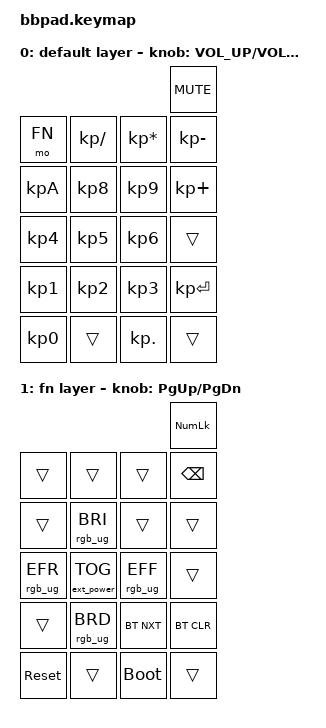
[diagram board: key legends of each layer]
/*
 * Copyright (c) 2023 The ZMK Contributors
 *
 * SPDX-License-Identifier: MIT
 */

#include <behaviors.dtsi>
#include <dt-bindings/zmk/keys.h>
#include <dt-bindings/zmk/bt.h>
#include <dt-bindings/zmk/rgb.h>
#include <dt-bindings/zmk/ext_power.h>
#include <dt-bindings/zmk/outputs.h>

#define DEFAULT  0
#define FN       1

#define TIMEOUT 300

&encoder_1 {
    status = "okay";
};

/ {
    sensors {
        compatible = "zmk,keymap-sensors";
        sensors = <&encoder_1>;
    };

    keymap0: keymap {
        compatible = "zmk,keymap";

        default_layer {
            label = "default layer";
            bindings = <
                                                               &kp C_MUTE
                &mo FN       &kp KP_DIVIDE   &kp KP_MULTIPLY   &kp KP_MINUS
                &kp KP_A    &kp KP_NUMBER_8       &kp KP_N9         &kp KP_PLUS
                &kp KP_N4    &kp KP_N5       &kp KP_N6         &trans
                &kp KP_NUMBER_1    &kp KP_N2       &kp KP_N3         &kp KP_ENTER
                &kp KP_N0    &trans          &kp KP_DOT        &trans
            >;
            sensor-bindings = <&inc_dec_kp C_VOL_UP C_VOL_DN>;
        }; 

        fn_layer {
            label = "fn layer";
            bindings = <
                                                                     &kp KP_NUM
                &trans           &trans             &trans           &kp BSPC
                &trans           &rgb_ug RGB_BRI    &trans           &trans
                &rgb_ug RGB_EFR  &ext_power EP_TOG  &rgb_ug RGB_EFF  &trans
                &trans           &rgb_ug RGB_BRD    &bt BT_NXT       &bt BT_CLR
                &sys_reset       &trans             &bootloader      &trans
            >;  
            sensor-bindings = <&inc_dec_kp PG_UP PG_DN>;
        };

    };
};
